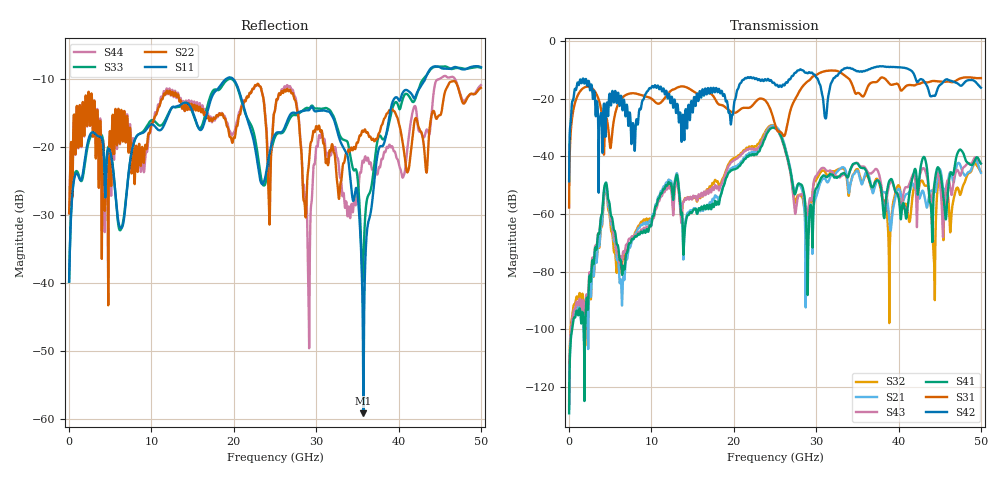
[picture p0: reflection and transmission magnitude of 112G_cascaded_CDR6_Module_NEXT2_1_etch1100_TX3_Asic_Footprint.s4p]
! Created Wed Feb 27 12:18:10 2019
# hz S ma R 50
! 4 Port Network Data from SP1.SP block
! freq  magS11  angS11  magS12  angS12  magS13  angS13  magS14  angS14
!  magS21  angS21  magS22  angS22  magS23  angS23  magS24  angS24
!  magS31  angS31  magS32  angS32  magS33  angS33  magS34  angS34
!  magS41  angS41  magS42  angS42  magS43  angS43  magS44  angS44
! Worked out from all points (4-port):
!   5000 points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, 10 MHz to 50 GHz, reference 50 ohm
!   strongest paths, dB at 10 MHz, 12.51 GHz, 25.01 GHz, 37.51 GHz, 50 GHz:
!     S42: -48.6, -19.6, -15.1, -8.8, -16.1
!     S31: -57.7, -16.9, -28.9, -13.8, -12.8
!     S41: -129.2, -51.9, -30.2, -48.4, -42.5
!     S43: -126.5, -54.4, -30.2, -45.1, -42.5
!     S21: -127.6, -50.5, -29.5, -48.4, -45.7
!     S32: -124.7, -52.8, -29.5, -48.2, -45.3
!   lowest |S11| = -59.1 dB at 35.74 GHz (marker M1), VSWR 1.00, Z = 50 + j0.11 ohm
!   |S11| at or under -10 dB: start of sweep to 19 GHz; 19.98 GHz to 43.21 GHz (23.24 GHz wide, 73.6 % of centre)
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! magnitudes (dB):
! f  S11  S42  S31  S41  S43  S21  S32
! 10 MHz  -39.7  -48.6  -57.7  -129.2  -126.5  -127.6  -124.7
! 1.94 GHz  -21.6  -14.0  -16.0  -102.7  -94.3  -94.6  -90.5
! 4.42 GHz  -27.1  -33.2  -27.7  -49.3  -49.8  -51.2  -51.8
! 19.59 GHz  -9.7  -27.6  -24.3  -45.0  -42.4  -44.3  -41.6
! 35.74 GHz  -59.1  -10.4  -19.1  -44.0  -43.5  -48.0  -48.2
! 44.29 GHz  -8.1  -19.0  -13.8  -52.1  -50.6  -51.8  -75.5
! 50 GHz  -8.2  -16.1  -12.8  -42.5  -42.5  -45.7  -45.3
